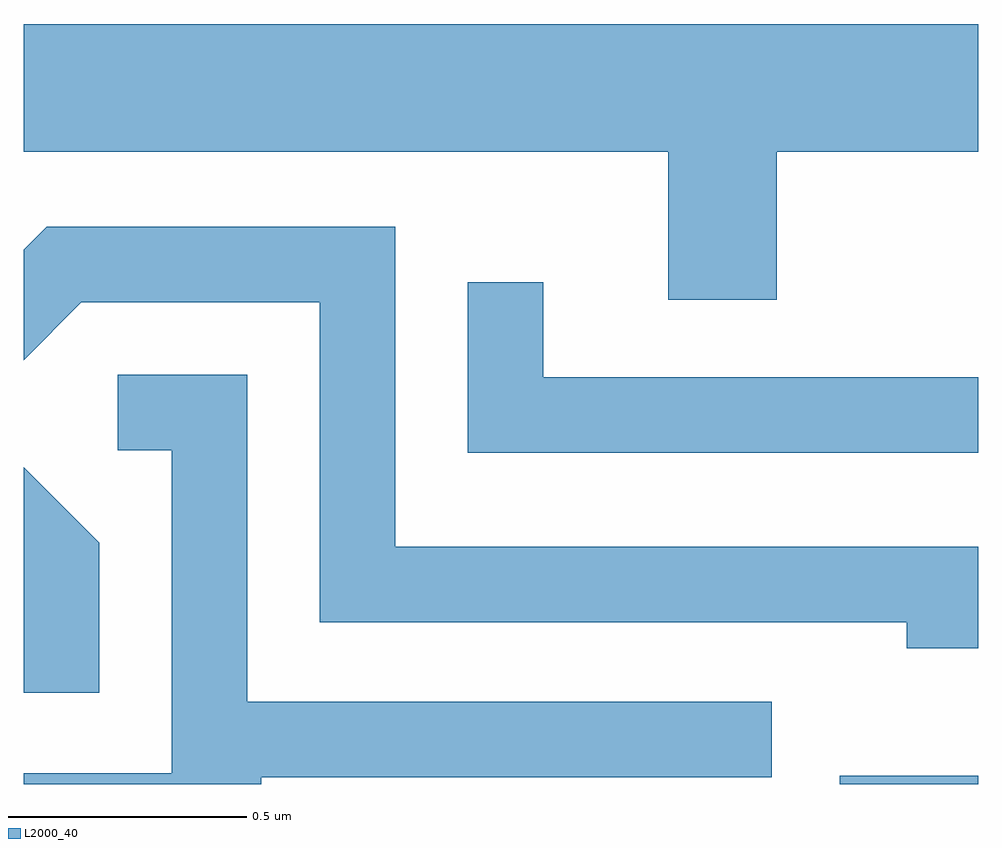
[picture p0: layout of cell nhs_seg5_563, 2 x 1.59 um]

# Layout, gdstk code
import gdstk
lib = gdstk.Library(unit=1e-6, precision=1e-09)
def R(c, l, rs):  # rectangles x0, y0, x1, y1
    for r in rs: c.add(gdstk.rectangle(r[:2], r[2:], *l))
def P(c, l, *ps):  # polygons
    for p in ps: c.add(gdstk.Polygon(p, *l))
L2000_40 = (2000, 40)

nhs_seg5_563 = lib.new_cell('nhs_seg5_563')
R(nhs_seg5_563, L2000_40, [(191.321,1411.072,191.611,1411.089)])
P(nhs_seg5_563, L2000_40, [(191.189,1412.396),(191.611,1412.396),(191.611,1412.664),(189.611,1412.664),(189.611,1412.396),(190.961,1412.396),(190.961,1412.086),(191.189,1412.086)],
  [(191.611,1411.569),(190.389,1411.569),(190.389,1412.239),(189.659,1412.239),(189.611,1412.191),(189.611,1411.96),(189.732,1412.081),(190.231,1412.081),(190.231,1411.411),(191.461,1411.411),(191.461,1411.356),(191.611,1411.356)],
  [(191.611,1411.924),(190.699,1411.924),(190.699,1412.123),(190.541,1412.123),(190.541,1411.766),(191.611,1411.766)],
  [(190.109,1411.086),(191.178,1411.086),(191.178,1411.244),(190.079,1411.244),(190.079,1411.929),(189.808,1411.929),(189.808,1411.771),(189.921,1411.771),(189.921,1411.094),(189.611,1411.094),(189.611,1411.072),(190.109,1411.072)],
  [(189.769,1411.577),(189.611,1411.735),(189.611,1411.263),(189.769,1411.263)])

lib.write_gds('nhs_seg5_563.gds')
